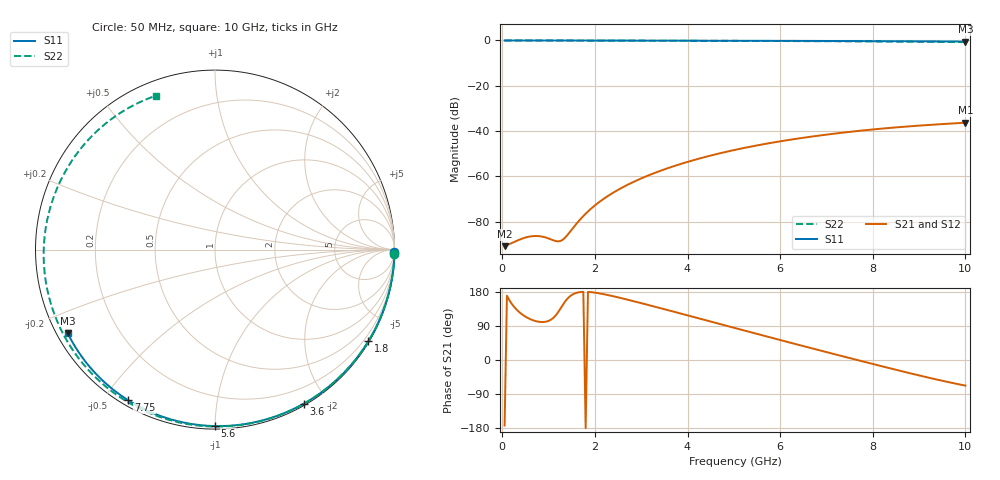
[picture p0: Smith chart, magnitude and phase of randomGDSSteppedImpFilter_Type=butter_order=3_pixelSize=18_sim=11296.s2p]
! freq	dB(S11)	phase(S11)	dB(S12)	phase(S12)
!  dB(S21)	phase(S21)	dB(S22)	phase(S22)
!S-par simulation data
#  GHz  S  DB  R 50
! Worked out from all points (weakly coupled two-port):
!   200 points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, 50 MHz to 10 GHz, reference 50 ohm
!   highest |S21| = -36.27 dB at 10 GHz (marker M1); lowest = -90.7 dB at 50 MHz (marker M2)
!   lowest |S11| = -0.5 dB at 10 GHz (marker M3), VSWR 34.54, Z = 1.55 - j13.2 ohm
!   |S11| at or under -10 dB: nowhere
!   |S22| runs from -0.7 to 0.0 dB; largest |S21 - S12| = 0
!   S11 on the Smith chart (normalised r, x): 50 MHz: open; 1.8 GHz: 0.03, -3.63; 3.6 GHz: 0.02, -1.73; 5.6 GHz: 0.02, -1.00; 7.75 GHz: 0.02, -0.58; 10 GHz: 0.03, -0.26
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0.05  -0.00 -0.9  -90.74 -173.0  -90.74 -173.0  -0.00 -1.3
0.8  -0.01 -13.8  -86.33 100.7  -86.33 100.7  -0.02 -20.1
1.6  -0.03 -27.4  -80.88 177.2  -80.88 177.2  -0.05 -39.8
1.65  -0.04 -28.3  -79.67 178.7  -79.67 178.7  -0.05 -41.1
1.75  -0.04 -30.0  -77.44 180.0  -77.44 180.0  -0.06 -43.5
1.8  -0.04 -30.8  -76.40 -180.0  -76.40 -180.0  -0.06 -44.7
2.1  -0.05 -35.8  -71.16 175.8  -71.16 175.8  -0.07 -51.9
2.45  -0.05 -41.6  -66.47 166.8  -66.47 166.8  -0.08 -60.2
2.9  -0.06 -48.9  -61.76 153.2  -61.76 153.2  -0.09 -70.8
3.4  -0.07 -56.9  -57.60 137.3  -57.60 137.3  -0.11 -82.3
3.6  -0.08 -60.0  -56.16 130.8  -56.16 130.8  -0.12 -86.9
4.3  -0.10 -70.8  -51.83 108.1  -51.83 108.1  -0.15 -102.6
5.05  -0.13 -82.1  -48.15 83.5  -48.15 83.5  -0.19 -119.3
5.6  -0.15 -90.1  -45.91 65.6  -45.91 65.6  -0.22 -131.5
6.7  -0.20 -105.6  -42.34 30.3  -42.34 30.3  -0.31 -156.5
7.25  -0.24 -113.2  -40.91 12.9  -40.91 12.9  -0.36 -169.6
7.75  -0.28 -119.9  -39.77 -2.7  -39.77 -2.7  -0.41 178.0
8.35  -0.33 -128.0  -38.60 -21.2  -38.60 -21.2  -0.49 162.2
8.75  -0.36 -133.4  -37.94 -33.3  -37.94 -33.3  -0.54 150.9
9.15  -0.40 -138.8  -37.35 -45.0  -37.35 -45.0  -0.59 139.0
9.55  -0.45 -144.3  -36.83 -56.1  -36.83 -56.1  -0.66 126.3
10  -0.50 -150.5  -36.27 -67.6  -36.27 -67.6  -0.74 111.0
